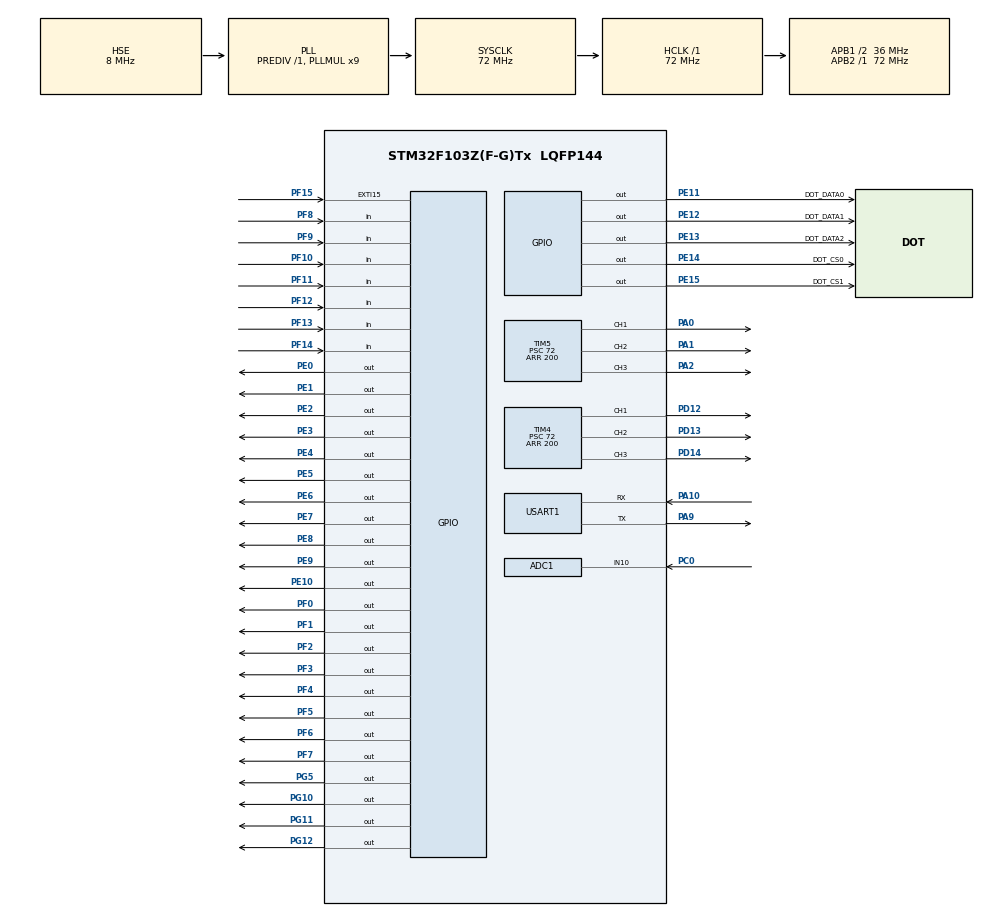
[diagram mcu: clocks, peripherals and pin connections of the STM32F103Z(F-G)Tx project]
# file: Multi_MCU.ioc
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ADC1.Channel-0\#ChannelRegularConversion=ADC_CHANNEL_10
ADC1.NbrOfConversionFlag=1
ADC1.Rank-0\#ChannelRegularConversion=1
ADC1.SamplingTime-0\#ChannelRegularConversion=ADC_SAMPLETIME_1CYCLE_5
ADC1.master=1
Mcu.Family=STM32F1
Mcu.Name=STM32F103Z(F-G)Tx
Mcu.Package=LQFP144
NVIC.EXTI15_10_IRQn=true\:0\:0\:false\:false\:true\:true\:true
NVIC.PriorityGroup=NVIC_PRIORITYGROUP_4
NVIC.TIM3_IRQn=true\:0\:0\:false\:false\:true\:true\:true
NVIC.USART1_IRQn=true\:0\:0\:false\:false\:true\:true\:true
OSC_IN.Mode=HSE-External-Oscillator
OSC_IN.Signal=RCC_OSC_IN
OSC_OUT.Mode=HSE-External-Oscillator
OSC_OUT.Signal=RCC_OSC_OUT
PA0-WKUP.Signal=S_TIM5_CH1
PA1.Signal=S_TIM5_CH2
PA10.Mode=Asynchronous
PA10.Signal=USART1_RX
PA13.Mode=Serial_Wire
PA13.Signal=SYS_JTMS-SWDIO
PA14.Mode=Serial_Wire
PA14.Signal=SYS_JTCK-SWCLK
PA2.Signal=S_TIM5_CH3
PA9.Mode=Asynchronous
PA9.Signal=USART1_TX
PC0.Signal=ADCx_IN10
PD12.Signal=S_TIM4_CH1
PD13.Signal=S_TIM4_CH2
PD14.Signal=S_TIM4_CH3
PE0.Signal=GPIO_Output
PE1.Signal=GPIO_Output
PE10.Signal=GPIO_Output
PE11.GPIO_Label=DOT_DATA0
PE11.Signal=GPIO_Output
PE12.GPIO_Label=DOT_DATA1
PE12.Signal=GPIO_Output
PE13.GPIO_Label=DOT_DATA2
PE13.Signal=GPIO_Output
PE14.GPIO_Label=DOT_CS0
PE14.Signal=GPIO_Output
PE15.GPIO_Label=DOT_CS1
PE15.Signal=GPIO_Output
PE2.Signal=GPIO_Output
PE3.Signal=GPIO_Output
PE4.Signal=GPIO_Output
PE5.Signal=GPIO_Output
PE6.Signal=GPIO_Output
PE7.Signal=GPIO_Output
PE8.Signal=GPIO_Output
PE9.Signal=GPIO_Output
PF0.Signal=GPIO_Output
PF1.Signal=GPIO_Output
PF10.Signal=GPIO_Input
PF11.Signal=GPIO_Input
PF12.Signal=GPIO_Input
PF13.Signal=GPIO_Input
PF14.Signal=GPIO_Input
PF15.GPIO_ModeDefaultEXTI=GPIO_MODE_IT_RISING
PF15.Signal=GPXTI15
PF2.Signal=GPIO_Output
PF3.Signal=GPIO_Output
PF4.Signal=GPIO_Output
PF5.Signal=GPIO_Output
PF6.Signal=GPIO_Output
PF7.Signal=GPIO_Output
PF8.Signal=GPIO_Input
PF9.Signal=GPIO_Input
PG10.Signal=GPIO_Output
PG11.Signal=GPIO_Output
PG12.Signal=GPIO_Output
PG5.Signal=GPIO_Output
ProjectManager.HeapSize=0x200
ProjectManager.StackSize=0x400
ProjectManager.TargetToolchain=MDK-ARM V5.27
RCC.ADCPresc=RCC_ADCPCLK2_DIV6
RCC.AHBFreq_Value=72000000
RCC.APB1CLKDivider=RCC_HCLK_DIV2
RCC.APB1Freq_Value=36000000
RCC.APB1TimFreq_Value=72000000
RCC.APB2Freq_Value=72000000
RCC.APB2TimFreq_Value=72000000
RCC.HCLKFreq_Value=72000000
RCC.PLLMUL=RCC_PLL_MUL9
RCC.PLLSourceVirtual=RCC_PLLSOURCE_HSE
RCC.SYSCLKFreq_VALUE=72000000
RCC.SYSCLKSource=RCC_SYSCLKSOURCE_PLLCLK
RCC.USBFreq_Value=72000000
SH.ADCx_IN10.0=ADC1_IN10,IN10
SH.S_TIM4_CH1.0=TIM4_CH1,PWM Generation1 CH1
SH.S_TIM4_CH2.0=TIM4_CH2,PWM Generation2 CH2
SH.S_TIM4_CH3.0=TIM4_CH3,PWM Generation3 CH3
SH.S_TIM5_CH1.0=TIM5_CH1,PWM Generation1 CH1
SH.S_TIM5_CH2.0=TIM5_CH2,PWM Generation2 CH2
SH.S_TIM5_CH3.0=TIM5_CH3,PWM Generation3 CH3
TIM3.AutoReloadPreload=TIM_AUTORELOAD_PRELOAD_DISABLE
TIM3.Period=50000
TIM3.Prescaler=720
TIM4.Channel-PWM\ Generation1\ CH1=TIM_CHANNEL_1
TIM4.Channel-PWM\ Generation2\ CH2=TIM_CHANNEL_2
TIM4.Channel-PWM\ Generation3\ CH3=TIM_CHANNEL_3
TIM4.Period=200
TIM4.Prescaler=72
TIM5.Channel-PWM\ Generation1\ CH1=TIM_CHANNEL_1
TIM5.Channel-PWM\ Generation2\ CH2=TIM_CHANNEL_2
TIM5.Channel-PWM\ Generation3\ CH3=TIM_CHANNEL_3
TIM5.Period=200
TIM5.Prescaler=72
USART1.VirtualMode=VM_ASYNC
VP_TIM3_VS_ClockSourceINT.Mode=Internal
board=custom

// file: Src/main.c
/* USER CODE BEGIN Header */
/**
  ******************************************************************************
  * @file           : main.c
  * @brief          : Main program body
  ******************************************************************************
  * @attention
  *
  * <h2><center>&copy; Copyright (c) 2021 STMicroelectronics.
  * All rights reserved.</center></h2>
  *
  * This software component is licensed by ST under BSD 3-Clause license,
  * the "License"; You may not use this file except in compliance with the
  * License. You may obtain a copy of the License at:
  *                        opensource.org/licenses/BSD-3-Clause
  *
  ******************************************************************************
  */
/* USER CODE END Header */
#include "main.h"

/* USER CODE BEGIN Includes */
#include <stdio.h>
#include "cmdline.h"
#include "cmd_func.h"
#include "Serial.h"
/* USER CODE END Includes */

ADC_HandleTypeDef hadc1;

TIM_HandleTypeDef htim3;
TIM_HandleTypeDef htim4;
TIM_HandleTypeDef htim5;

UART_HandleTypeDef huart1;

void SystemClock_Config(void);
static void MX_GPIO_Init(void);
static void MX_TIM3_Init(void);
static void MX_USART1_UART_Init(void);
static void MX_ADC1_Init(void);
static void MX_TIM4_Init(void);
static void MX_TIM5_Init(void);

int main(void)
{
  /* USER CODE BEGIN 1 */
	int nStatus;
  /* USER CODE END 1 */

  /* MCU Configuration--------------------------------------------------------*/

  /* Reset of all peripherals, Initializes the Flash interface and the Systick. */
  HAL_Init();

  /* Configure the system clock */
  SystemClock_Config();

  /* Initialize all configured peripherals */
  MX_GPIO_Init();
  MX_TIM3_Init();
  MX_USART1_UART_Init();
  MX_ADC1_Init();
  MX_TIM4_Init();
  MX_TIM5_Init();
  /* USER CODE BEGIN 2 */
	printf("\n\r UART Printf Example: retarget the C library printf function to the UART\n\r");
	printf("\n\r DATA : %s , LINE : %d\n\r",__DATE__,__LINE__);

	HAL_TIM_Base_Start_IT(&htim3);

  HAL_TIM_PWM_Start(&htim5, TIM_CHANNEL_1);
  HAL_TIMEx_PWMN_Start(&htim5, TIM_CHANNEL_1);
  __HAL_TIM_SET_COMPARE(&htim5, TIM_CHANNEL_1, 0);

  HAL_TIM_PWM_Start(&htim5, TIM_CHANNEL_2);
  HAL_TIMEx_PWMN_Start(&htim5, TIM_CHANNEL_2);
  __HAL_TIM_SET_COMPARE(&htim5, TIM_CHANNEL_2, 0);

  HAL_TIM_PWM_Start(&htim5, TIM_CHANNEL_3);
  HAL_TIMEx_PWMN_Start(&htim5, TIM_CHANNEL_3);
  __HAL_TIM_SET_COMPARE(&htim5, TIM_CHANNEL_3, 0);

	// DC Motor Direction
	HAL_GPIO_WritePin(GPIOG, GPIO_PIN_10, GPIO_PIN_RESET);

	// Servo Motor Direction
	//HAL_GPIO_WritePin(GPIOG, GPIO_PIN_10, GPIO_PIN_RESET);

	// Step Motor Direction
  HAL_GPIO_WritePin(GPIOG, GPIO_PIN_12, GPIO_PIN_SET);
	HAL_GPIO_WritePin(GPIOG, GPIO_PIN_11, GPIO_PIN_SET);

  /* USER CODE END 2 */

  /* Infinite loop */
  while (1)
  {

				//
        // Print a prompt to the console.  Show the CWD.
        //
        printf("cmd> ");

        //
        // Get a line of text from the user.
        //
        UARTgets(g_pcCmdBuf, sizeof(g_pcCmdBuf));		// Data Input

        //
        // Pass the line from the user to the command processor.  It will be
        // parsed and valid commands executed.
        //
        nStatus = CmdLineProcess(g_pcCmdBuf);

        //
        // Handle the case of bad command.
        //
        if(nStatus == CMDLINE_BAD_CMD)
        {
            printf("Bad command!\n\r");
        }

        //
        // Handle the case of too many arguments.
        //
        else if(nStatus == CMDLINE_TOO_MANY_ARGS)
        {
            printf("Too many arguments for command processor!\n\r");
        }

        //
        // Otherwise the command was executed.  Print the error code if one was
        // returned.
        //
        else if(nStatus != 0)
        {
            //printf("Command returned error code \n");
        }
  }
}

void SystemClock_Config(void)
{
  RCC_OscInitTypeDef RCC_OscInitStruct = {0};
  RCC_ClkInitTypeDef RCC_ClkInitStruct = {0};
  RCC_PeriphCLKInitTypeDef PeriphClkInit = {0};

  /** Initializes the RCC Oscillators according to the specified parameters
  * in the RCC_OscInitTypeDef structure.
  */
  RCC_OscInitStruct.OscillatorType = RCC_OSCILLATORTYPE_HSE;
  RCC_OscInitStruct.HSEState = RCC_HSE_ON;
  RCC_OscInitStruct.HSEPredivValue = RCC_HSE_PREDIV_DIV1;
  RCC_OscInitStruct.HSIState = RCC_HSI_ON;
  RCC_OscInitStruct.PLL.PLLState = RCC_PLL_ON;
  RCC_OscInitStruct.PLL.PLLSource = RCC_PLLSOURCE_HSE;
  RCC_OscInitStruct.PLL.PLLMUL = RCC_PLL_MUL9;
  if (HAL_RCC_OscConfig(&RCC_OscInitStruct) != HAL_OK)
  {
    Error_Handler();
  }
  /** Initializes the CPU, AHB and APB buses clocks
  */
  RCC_ClkInitStruct.ClockType = RCC_CLOCKTYPE_HCLK|RCC_CLOCKTYPE_SYSCLK
                              |RCC_CLOCKTYPE_PCLK1|RCC_CLOCKTYPE_PCLK2;
  RCC_ClkInitStruct.SYSCLKSource = RCC_SYSCLKSOURCE_PLLCLK;
  RCC_ClkInitStruct.AHBCLKDivider = RCC_SYSCLK_DIV1;
  RCC_ClkInitStruct.APB1CLKDivider = RCC_HCLK_DIV2;
  RCC_ClkInitStruct.APB2CLKDivider = RCC_HCLK_DIV1;

  if (HAL_RCC_ClockConfig(&RCC_ClkInitStruct, FLASH_LATENCY_2) != HAL_OK)
  {
    Error_Handler();
  }
  PeriphClkInit.PeriphClockSelection = RCC_PERIPHCLK_ADC;
  PeriphClkInit.AdcClockSelection = RCC_ADCPCLK2_DIV6;
  if (HAL_RCCEx_PeriphCLKConfig(&PeriphClkInit) != HAL_OK)
  {
    Error_Handler();
  }
}

static void MX_ADC1_Init(void)
{

  ADC_ChannelConfTypeDef sConfig = {0};

  /** Common config
  */
  hadc1.Instance = ADC1;
  hadc1.Init.ScanConvMode = ADC_SCAN_DISABLE;
  hadc1.Init.ContinuousConvMode = DISABLE;
  hadc1.Init.DiscontinuousConvMode = DISABLE;
  hadc1.Init.ExternalTrigConv = ADC_SOFTWARE_START;
  hadc1.Init.DataAlign = ADC_DATAALIGN_RIGHT;
  hadc1.Init.NbrOfConversion = 1;
  if (HAL_ADC_Init(&hadc1) != HAL_OK)
  {
    Error_Handler();
  }
  /** Configure Regular Channel
  */
  sConfig.Channel = ADC_CHANNEL_10;
  sConfig.Rank = ADC_REGULAR_RANK_1;
  sConfig.SamplingTime = ADC_SAMPLETIME_1CYCLE_5;
  if (HAL_ADC_ConfigChannel(&hadc1, &sConfig) != HAL_OK)
  {
    Error_Handler();
  }

}

static void MX_TIM3_Init(void)
{

  TIM_ClockConfigTypeDef sClockSourceConfig = {0};
  TIM_MasterConfigTypeDef sMasterConfig = {0};

  htim3.Instance = TIM3;
  htim3.Init.Prescaler = 720;
  htim3.Init.CounterMode = TIM_COUNTERMODE_UP;
  htim3.Init.Period = 50000;
  htim3.Init.ClockDivision = TIM_CLOCKDIVISION_DIV1;
  htim3.Init.AutoReloadPreload = TIM_AUTORELOAD_PRELOAD_DISABLE;
  if (HAL_TIM_Base_Init(&htim3) != HAL_OK)
  {
    Error_Handler();
  }
  sClockSourceConfig.ClockSource = TIM_CLOCKSOURCE_INTERNAL;
  if (HAL_TIM_ConfigClockSource(&htim3, &sClockSourceConfig) != HAL_OK)
  {
    Error_Handler();
  }
  sMasterConfig.MasterOutputTrigger = TIM_TRGO_RESET;
  sMasterConfig.MasterSlaveMode = TIM_MASTERSLAVEMODE_DISABLE;
  if (HAL_TIMEx_MasterConfigSynchronization(&htim3, &sMasterConfig) != HAL_OK)
  {
    Error_Handler();
  }

}

static void MX_TIM4_Init(void)
{

  TIM_MasterConfigTypeDef sMasterConfig = {0};
  TIM_OC_InitTypeDef sConfigOC = {0};

  htim4.Instance = TIM4;
  htim4.Init.Prescaler = 72;
  htim4.Init.CounterMode = TIM_COUNTERMODE_UP;
  htim4.Init.Period = 200;
  htim4.Init.ClockDivision = TIM_CLOCKDIVISION_DIV1;
  htim4.Init.AutoReloadPreload = TIM_AUTORELOAD_PRELOAD_DISABLE;
  if (HAL_TIM_PWM_Init(&htim4) != HAL_OK)
  {
    Error_Handler();
  }
  sMasterConfig.MasterOutputTrigger = TIM_TRGO_RESET;
  sMasterConfig.MasterSlaveMode = TIM_MASTERSLAVEMODE_DISABLE;
  if (HAL_TIMEx_MasterConfigSynchronization(&htim4, &sMasterConfig) != HAL_OK)
  {
    Error_Handler();
  }
  sConfigOC.OCMode = TIM_OCMODE_PWM1;
  sConfigOC.Pulse = 0;
  sConfigOC.OCPolarity = TIM_OCPOLARITY_HIGH;
  sConfigOC.OCFastMode = TIM_OCFAST_DISABLE;
  if (HAL_TIM_PWM_ConfigChannel(&htim4, &sConfigOC, TIM_CHANNEL_1) != HAL_OK)
  {
    Error_Handler();
  }
  if (HAL_TIM_PWM_ConfigChannel(&htim4, &sConfigOC, TIM_CHANNEL_2) != HAL_OK)
  {
    Error_Handler();
  }
  if (HAL_TIM_PWM_ConfigChannel(&htim4, &sConfigOC, TIM_CHANNEL_3) != HAL_OK)
  {
    Error_Handler();
  }
  HAL_TIM_MspPostInit(&htim4);

}

static void MX_TIM5_Init(void)
{

  TIM_MasterConfigTypeDef sMasterConfig = {0};
  TIM_OC_InitTypeDef sConfigOC = {0};

  htim5.Instance = TIM5;
  htim5.Init.Prescaler = 72;		// 72,000,000  720 -> 100,000 -> 0.00001 s
  htim5.Init.CounterMode = TIM_COUNTERMODE_UP;
  htim5.Init.Period = 5000;	// T 0.05s interrupt	-> F : 100/5 = 20Hz
  htim5.Init.ClockDivision = TIM_CLOCKDIVISION_DIV1;
  htim5.Init.AutoReloadPreload = TIM_AUTORELOAD_PRELOAD_DISABLE;
  if (HAL_TIM_PWM_Init(&htim5) != HAL_OK)
  {
    Error_Handler();
  }
  sMasterConfig.MasterOutputTrigger = TIM_TRGO_RESET;
  sMasterConfig.MasterSlaveMode = TIM_MASTERSLAVEMODE_DISABLE;
  if (HAL_TIMEx_MasterConfigSynchronization(&htim5, &sMasterConfig) != HAL_OK)
  {
    Error_Handler();
  }
  sConfigOC.OCMode = TIM_OCMODE_PWM1;
  sConfigOC.Pulse = 0;
  sConfigOC.OCPolarity = TIM_OCPOLARITY_HIGH;
  sConfigOC.OCFastMode = TIM_OCFAST_DISABLE;
  if (HAL_TIM_PWM_ConfigChannel(&htim5, &sConfigOC, TIM_CHANNEL_1) != HAL_OK)
  {
    Error_Handler();
  }
  if (HAL_TIM_PWM_ConfigChannel(&htim5, &sConfigOC, TIM_CHANNEL_2) != HAL_OK)
  {
    Error_Handler();
  }
  if (HAL_TIM_PWM_ConfigChannel(&htim5, &sConfigOC, TIM_CHANNEL_3) != HAL_OK)
  {
    Error_Handler();
  }
  HAL_TIM_MspPostInit(&htim5);

}

static void MX_USART1_UART_Init(void)
{

  huart1.Instance = USART1;
  huart1.Init.BaudRate = 115200;
  huart1.Init.WordLength = UART_WORDLENGTH_8B;
  huart1.Init.StopBits = UART_STOPBITS_1;
  huart1.Init.Parity = UART_PARITY_NONE;
  huart1.Init.Mode = UART_MODE_TX_RX;
  huart1.Init.HwFlowCtl = UART_HWCONTROL_NONE;
  huart1.Init.OverSampling = UART_OVERSAMPLING_16;
  if (HAL_UART_Init(&huart1) != HAL_OK)
  {
    Error_Handler();
  }

}

static void MX_GPIO_Init(void)
{
  GPIO_InitTypeDef GPIO_InitStruct = {0};

  /* GPIO Ports Clock Enable */
  __HAL_RCC_GPIOE_CLK_ENABLE();
  __HAL_RCC_GPIOF_CLK_ENABLE();
  __HAL_RCC_GPIOC_CLK_ENABLE();
  __HAL_RCC_GPIOA_CLK_ENABLE();
  __HAL_RCC_GPIOD_CLK_ENABLE();
  __HAL_RCC_GPIOG_CLK_ENABLE();

  /*Configure GPIO pin Output Level */
  HAL_GPIO_WritePin(GPIOE, GPIO_PIN_2|GPIO_PIN_3|GPIO_PIN_4|GPIO_PIN_5
                          |GPIO_PIN_6|GPIO_PIN_7|GPIO_PIN_8|GPIO_PIN_9
                          |GPIO_PIN_10|DOT_DATA0_Pin|DOT_DATA1_Pin|DOT_DATA2_Pin
                          |DOT_CS0_Pin|DOT_CS1_Pin|GPIO_PIN_0|GPIO_PIN_1, GPIO_PIN_RESET);

  /*Configure GPIO pin Output Level */
  HAL_GPIO_WritePin(GPIOF, GPIO_PIN_0|GPIO_PIN_1|GPIO_PIN_2|GPIO_PIN_3
                          |GPIO_PIN_4|GPIO_PIN_5|GPIO_PIN_6|GPIO_PIN_7, GPIO_PIN_RESET);

  /*Configure GPIO pin Output Level */
  HAL_GPIO_WritePin(GPIOG, GPIO_PIN_5|GPIO_PIN_10|GPIO_PIN_11|GPIO_PIN_12, GPIO_PIN_RESET);

  /*Configure GPIO pins : PE2 PE3 PE4 PE5
                           PE6 PE7 PE8 PE9
                           PE10 DOT_DATA0_Pin DOT_DATA1_Pin DOT_DATA2_Pin
                           DOT_CS0_Pin DOT_CS1_Pin PE0 PE1 */
  GPIO_InitStruct.Pin = GPIO_PIN_2|GPIO_PIN_3|GPIO_PIN_4|GPIO_PIN_5
                          |GPIO_PIN_6|GPIO_PIN_7|GPIO_PIN_8|GPIO_PIN_9
                          |GPIO_PIN_10|DOT_DATA0_Pin|DOT_DATA1_Pin|DOT_DATA2_Pin
                          |DOT_CS0_Pin|DOT_CS1_Pin|GPIO_PIN_0|GPIO_PIN_1;
  GPIO_InitStruct.Mode = GPIO_MODE_OUTPUT_PP;
  GPIO_InitStruct.Pull = GPIO_NOPULL;
  GPIO_InitStruct.Speed = GPIO_SPEED_FREQ_LOW;
  HAL_GPIO_Init(GPIOE, &GPIO_InitStruct);

  /*Configure GPIO pins : PF0 PF1 PF2 PF3
                           PF4 PF5 PF6 PF7 */
  GPIO_InitStruct.Pin = GPIO_PIN_0|GPIO_PIN_1|GPIO_PIN_2|GPIO_PIN_3
                          |GPIO_PIN_4|GPIO_PIN_5|GPIO_PIN_6|GPIO_PIN_7;
  GPIO_InitStruct.Mode = GPIO_MODE_OUTPUT_PP;
  GPIO_InitStruct.Pull = GPIO_NOPULL;
  GPIO_InitStruct.Speed = GPIO_SPEED_FREQ_LOW;
  HAL_GPIO_Init(GPIOF, &GPIO_InitStruct);

  /*Configure GPIO pins : PF8 PF9 PF10 PF11
                           PF12 PF13 PF14 */
  GPIO_InitStruct.Pin = GPIO_PIN_8|GPIO_PIN_9|GPIO_PIN_10|GPIO_PIN_11
                          |GPIO_PIN_12|GPIO_PIN_13|GPIO_PIN_14;
  GPIO_InitStruct.Mode = GPIO_MODE_INPUT;
  GPIO_InitStruct.Pull = GPIO_NOPULL;
  HAL_GPIO_Init(GPIOF, &GPIO_InitStruct);

  /*Configure GPIO pin : PF15 */
  GPIO_InitStruct.Pin = GPIO_PIN_15;
  GPIO_InitStruct.Mode = GPIO_MODE_IT_RISING;
  GPIO_InitStruct.Pull = GPIO_NOPULL;
  HAL_GPIO_Init(GPIOF, &GPIO_InitStruct);

  /*Configure GPIO pins : PG5 PG10 PG11 PG12 */
  GPIO_InitStruct.Pin = GPIO_PIN_5|GPIO_PIN_10|GPIO_PIN_11|GPIO_PIN_12;
  GPIO_InitStruct.Mode = GPIO_MODE_OUTPUT_PP;
  GPIO_InitStruct.Pull = GPIO_NOPULL;
  GPIO_InitStruct.Speed = GPIO_SPEED_FREQ_LOW;
  HAL_GPIO_Init(GPIOG, &GPIO_InitStruct);

  /* EXTI interrupt init*/
  HAL_NVIC_SetPriority(EXTI15_10_IRQn, 0, 0);
  HAL_NVIC_EnableIRQ(EXTI15_10_IRQn);

}

/* USER CODE BEGIN 4 */
void HAL_TIM_PeriodElapsedCallback(TIM_HandleTypeDef *htim)
{
    if(htim->Instance == TIM3)
    {
          HAL_GPIO_TogglePin(GPIOF, GPIO_PIN_1);
			    //printf("\n\r LINE : %d  Timer Interrupt!!!\n\r",__LINE__);
    }
}

void HAL_GPIO_EXTI_Callback(uint16_t GPIO_Pin)
{
  if(GPIO_Pin == GPIO_PIN_15)
  {
				 GPIOG->ODR = GPIOG->ODR ^ (1 << 10);
				 GPIOG->ODR = GPIOG->ODR ^ (1 << 11);
         //HAL_GPIO_TogglePin(GPIOF, GPIO_PIN_2);
		     //printf("\n\r LINE : %d  Ext Intterupt!!!\n\r",__LINE__);
  }

}
/* USER CODE END 4 */

void Error_Handler(void)
{
  __disable_irq();
  while (1)
  {
  }
}

/************************ (C) COPYRIGHT STMicroelectronics *****END OF FILE****/
